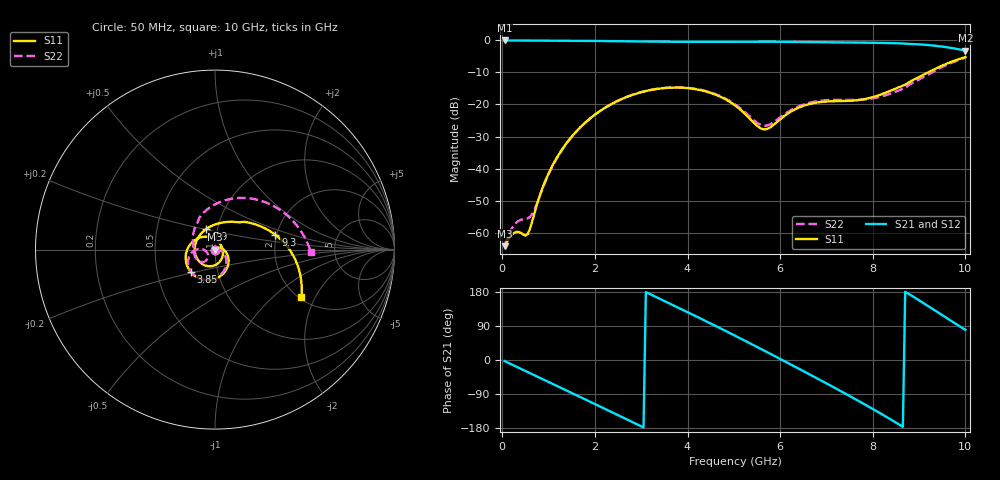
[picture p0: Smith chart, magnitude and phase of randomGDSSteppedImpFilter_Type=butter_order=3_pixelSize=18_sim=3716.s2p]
! freq	dB(S11)	phase(S11)	dB(S12)	phase(S12)
!  dB(S21)	phase(S21)	dB(S22)	phase(S22)
!S-par simulation data
#  GHz  S  DB  R 50
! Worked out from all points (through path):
!   200 points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, 50 MHz to 10 GHz, reference 50 ohm
!   highest |S21| = 0.00 dB at 50 MHz (marker M1); lowest = -3.2 dB at 10 GHz (marker M2)
!   group delay of S21, straight-line fit = 175 ps
!   lowest |S11| = -64.2 dB at 50 MHz (marker M3), VSWR 1.00, Z = 50.1 - j0.00529 ohm
!   |S11| at or under -10 dB: start of sweep to 9.189 GHz
!   |S22| runs from -64.1 to -5.4 dB; largest |S21 - S12| = 0
!   S11 on the Smith chart (normalised r, x): 50 MHz: 1.00, -0.00; 3.85 GHz: 0.74, -0.19; 7.9 GHz: 0.88, +0.21; 9.3 GHz: 1.97, +0.37; 10 GHz: 2.06, -1.56
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0.05  -64.23 -4.9  -0.00 -2.9  -0.00 -2.9  -64.13 -3.7
0.25  -60.12 -81.5  -0.03 -14.6  -0.03 -14.6  -57.70 -59.7
0.55  -60.45 172.5  -0.04 -31.9  -0.04 -31.9  -55.58 -46.4
0.7  -53.64 108.0  -0.05 -40.6  -0.05 -40.6  -52.64 -14.4
1.05  -40.02 54.2  -0.08 -60.9  -0.08 -60.9  -40.27 6.5
1.75  -26.20 -1.3  -0.13 -101.6  -0.13 -101.6  -26.26 -20.3
2.15  -21.65 -28.3  -0.18 -125.1  -0.18 -125.1  -21.66 -40.8
2.65  -17.86 -60.7  -0.26 -154.4  -0.26 -154.4  -17.84 -67.4
3.4  -15.03 -108.6  -0.39 161.6  -0.39 161.6  -14.98 -107.3
3.85  -14.74 -137.7  -0.44 135.1  -0.44 135.1  -14.67 -130.6
4.45  -16.14 -179.0  -0.44 99.3  -0.44 99.3  -16.02 -159.9
5.05  -20.53 130.7  -0.40 62.7  -0.40 62.7  -20.21 178.6
5.65  -27.75 27.4  -0.39 25.1  -0.39 25.1  -26.64 -156.0
6.15  -22.97 -66.6  -0.44 -6.8  -0.44 -6.8  -22.49 -128.6
6.7  -19.63 -123.1  -0.52 -42.1  -0.52 -42.1  -19.23 -142.8
7.3  -18.94 177.9  -0.60 -81.5  -0.60 -81.5  -18.56 -165.6
7.9  -18.08 113.0  -0.69 -122.3  -0.69 -122.3  -18.32 172.1
8.35  -15.90 71.7  -0.81 -154.1  -0.81 -154.1  -16.77 147.6
8.85  -12.51 39.9  -1.12 169.0  -1.12 169.0  -13.32 107.2
9.3  -9.20 13.7  -1.58 134.0  -1.58 134.0  -9.78 62.8
9.65  -6.93 -7.1  -2.24 106.4  -2.24 106.4  -7.30 29.3
10  -5.22 -28.7  -3.15 79.5  -3.15 79.5  -5.44 -1.7
